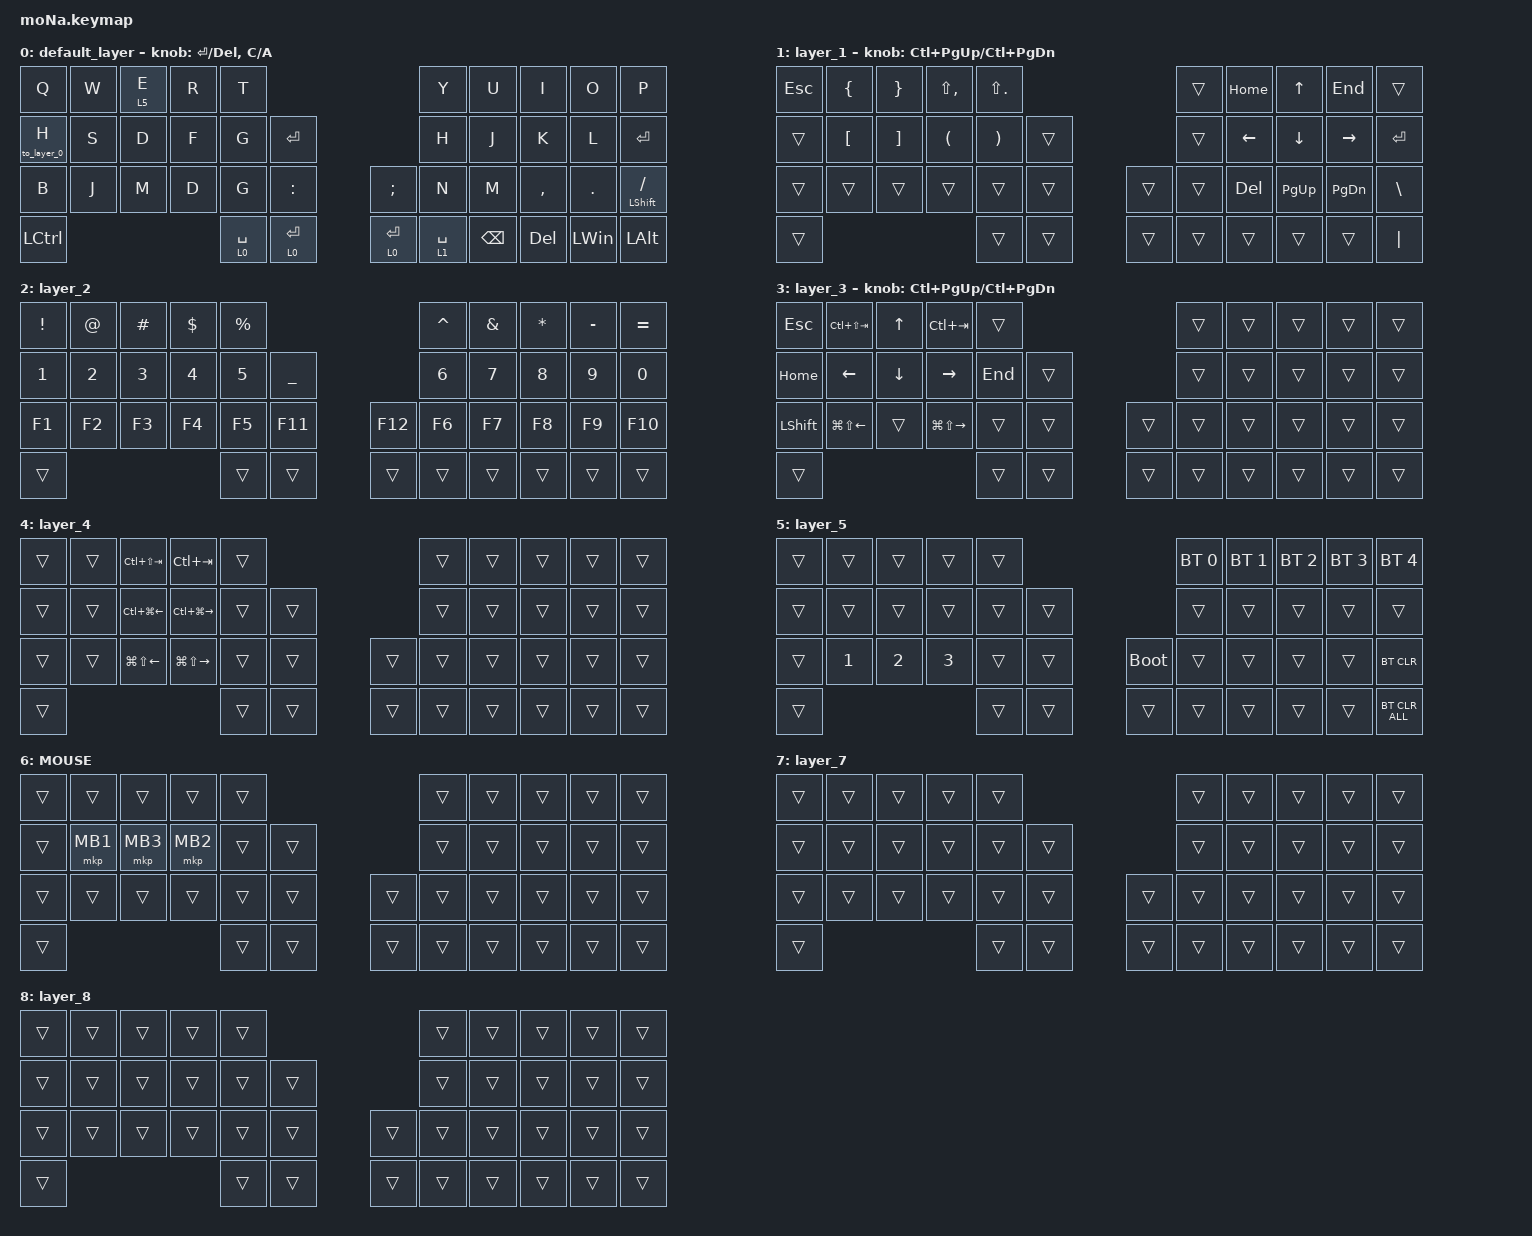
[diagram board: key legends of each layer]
#include <dt-bindings/zmk/mouse.h>
#include <behaviors/rgbled_widget.dtsi>  // led制御
#include <behaviors.dtsi>
#include <dt-bindings/zmk/bt.h>
#include <dt-bindings/zmk/keys.h>
#include <dt-bindings/zmk/pointing.h>
#include <dt-bindings/zmk/pointing.h>

#define ZMK_MOUSE_DEFAULT_SCRL_VAL 100   //スクロール量
#define MOUSE 6

&mt {
    flavor = "balanced";
    quick-tap-ms = <0>;
};

/ {
    //コンボ設定

    combos {
        compatible = "zmk,combos";

        tab {
            bindings = <&kp TAB>;   //押したとき実行されるコマンド
            key-positions = <11 12>;    //押すキーの位置
        };

        shift_tab {
            bindings = <&kp LS(TAB)>;
            key-positions = <12 13>;
        };

        muhennkann {
            bindings = <&to_layer_0 INT_MUHENKAN>;
            key-positions = <11 10>;
        };

        double_quotation {
            bindings = <&kp DOUBLE_QUOTES>;
            key-positions = <20 21>;
        };

        eq {
            bindings = <&kp EQUAL>;
            key-positions = <24 25>;
        };
    };

    //マクロ(既存のキーの組み合わせ)

    macros {
        to_layer_0: to_layer_0 {
            compatible = "zmk,behavior-macro-one-param";
            #binding-cells = <1>;
            bindings = <&to 0 &macro_param_1to1 &kp MACRO_PLACEHOLDER>;
            label = "TO_LAYER_0";
        };
    };

    //新たな動作を定義する

    behaviors {
        lt_to_layer_0: lt_to_layer_0 {
            compatible = "zmk,behavior-hold-tap";
            label = "LAYER_TAP_TO_0";
            bindings = <&mo>, <&to_layer_0>;

            #binding-cells = <2>;
            tapping-term-ms = <200>;
        };

        scroll_up_down: behavior_sensor_rotate_mouse_wheel_up_down {
            compatible = "zmk,behavior-sensor-rotate";
            #sensor-binding-cells = <0>;
            bindings = <&msc SCRL_UP>, <&msc SCRL_DOWN>;

            // 追加: スクロールのタップ時間を設定 (20ms)

            tap-ms = <20>;
        };
    };

    //キーマップ設定

    keymap {
        compatible = "zmk,keymap";

        default_layer {
            bindings = <
&kp Q          &kp W  &lt 5 E  &kp R  &kp T                                                          &kp Y        &kp U          &kp I      &kp O         &kp P
&to_layer_0 H  &kp S  &kp D    &kp F  &kp G        &kp ENTER                                         &kp H        &kp J          &kp K      &kp L         &kp ENTER
&kp B          &kp J  &kp M    &kp D  &kp G        &kp COLON                 &kp SEMICOLON           &kp N        &kp M          &kp COMMA  &kp PERIOD    &mt LEFT_SHIFT SLASH
&kp LCTRL                             &lt 0 SPACE  &lt_to_layer_0 0 ENTER    &lt_to_layer_0 0 ENTER  &lt 1 SPACE  &kp BACKSPACE  &kp DEL    &kp LEFT_WIN  &kp LEFT_ALT
            >;

            sensor-bindings = <&inc_dec_kp RETURN DELETE>, <&inc_dec_kp C A>;
        };

        layer_1 {
            bindings = <
&kp ESCAPE  &kp LEFT_BRACE    &kp RIGHT_BRACE    &kp LS(COMMA)         &kp LS(PERIOD)                           &trans  &kp HOME        &kp UP_ARROW    &kp END          &trans
&trans      &kp LEFT_BRACKET  &kp RIGHT_BRACKET  &kp LEFT_PARENTHESIS  &kp RIGHT_PARENTHESIS  &trans            &trans  &kp LEFT_ARROW  &kp DOWN_ARROW  &kp RIGHT_ARROW  &kp ENTER
&trans      &trans            &trans             &trans                &trans                 &trans    &trans  &trans  &kp DEL         &kp PAGE_UP     &kp PAGE_DOWN    &kp BACKSLASH
&trans                                                                 &trans                 &trans    &trans  &trans  &trans          &trans          &trans           &kp PIPE
            >;

            sensor-bindings = <&inc_dec_kp LC(PAGE_UP) LC(PAGE_DOWN)>;
        };

        layer_2 {
            bindings = <
&kp EXCLAMATION  &kp AT_SIGN  &kp HASH  &kp DOLLAR  &kp PERCENT                             &kp CARET  &kp AMPERSAND  &kp ASTERISK  &kp MINUS  &kp EQUAL
&kp 1            &kp 2        &kp 3     &kp 4       &kp 5        &kp UNDERSCORE             &kp 6      &kp 7          &kp 8         &kp 9      &kp 0
&kp F1           &kp F2       &kp F3    &kp F4      &kp F5       &kp F11           &kp F12  &kp F6     &kp F7         &kp F8        &kp F9     &kp F10
&trans                                              &trans       &trans            &trans   &trans     &trans         &trans        &trans     &trans
            >;
        };

        layer_3 {
            bindings = <
&kp ESCAPE      &kp LC(LS(TAB))         &kp UP_ARROW    &kp LC(TAB)              &trans                     &trans  &trans  &trans  &trans  &trans
&kp HOME        &kp LEFT_ARROW          &kp DOWN_ARROW  &kp RIGHT_ARROW          &kp END  &trans            &trans  &trans  &trans  &trans  &trans
&kp LEFT_SHIFT  &kp LG(LS(LEFT_ARROW))  &trans          &kp LG(LS(RIGHT_ARROW))  &trans   &trans    &trans  &trans  &trans  &trans  &trans  &trans
&trans                                                                           &trans   &trans    &trans  &trans  &trans  &trans  &trans  &trans
            >;

            sensor-bindings = <&inc_dec_kp LC(PAGE_UP) LC(PAGE_DOWN)>;
        };

        layer_4 {
            bindings = <
&trans  &trans  &kp LC(LS(TAB))         &kp LC(TAB)              &trans                    &trans  &trans  &trans  &trans  &trans
&trans  &trans  &kp LC(LG(LEFT_ARROW))  &kp LC(LG(RIGHT_ARROW))  &trans  &trans            &trans  &trans  &trans  &trans  &trans
&trans  &trans  &kp LG(LS(LEFT_ARROW))  &kp LG(LS(RIGHT_ARROW))  &trans  &trans    &trans  &trans  &trans  &trans  &trans  &trans
&trans                                                           &trans  &trans    &trans  &trans  &trans  &trans  &trans  &trans
            >;
        };

        layer_5 {
            bindings = <
&trans  &trans        &trans        &trans        &trans                         &bt BT_SEL 0  &bt BT_SEL 1  &bt BT_SEL 2  &bt BT_SEL 3  &bt BT_SEL 4
&trans  &trans        &trans        &trans        &trans  &trans                 &trans        &trans        &trans        &trans        &trans
&trans  &kp NUMBER_1  &kp NUMBER_2  &kp NUMBER_3  &trans  &trans    &bootloader  &trans        &trans        &trans        &trans        &bt BT_CLR
&trans                                            &trans  &trans    &trans       &trans        &trans        &trans        &trans        &bt BT_CLR_ALL
            >;
        };

        MOUSE {
            bindings = <
&trans  &trans    &trans    &trans    &trans                    &trans  &trans  &trans  &trans  &trans
&trans  &mkp MB1  &mkp MB3  &mkp MB2  &trans  &trans            &trans  &trans  &trans  &trans  &trans
&trans  &trans    &trans    &trans    &trans  &trans    &trans  &trans  &trans  &trans  &trans  &trans
&trans                                &trans  &trans    &trans  &trans  &trans  &trans  &trans  &trans
            >;
        };

        layer_7 {
            bindings = <
&trans  &trans  &trans  &trans  &trans                    &trans  &trans  &trans  &trans  &trans
&trans  &trans  &trans  &trans  &trans  &trans            &trans  &trans  &trans  &trans  &trans
&trans  &trans  &trans  &trans  &trans  &trans    &trans  &trans  &trans  &trans  &trans  &trans
&trans                          &trans  &trans    &trans  &trans  &trans  &trans  &trans  &trans
            >;
        };

        layer_8 {
            bindings = <
&trans  &trans  &trans  &trans  &trans                    &trans  &trans  &trans  &trans  &trans
&trans  &trans  &trans  &trans  &trans  &trans            &trans  &trans  &trans  &trans  &trans
&trans  &trans  &trans  &trans  &trans  &trans    &trans  &trans  &trans  &trans  &trans  &trans
&trans                          &trans  &trans    &trans  &trans  &trans  &trans  &trans  &trans
            >;
        };
    };
};
